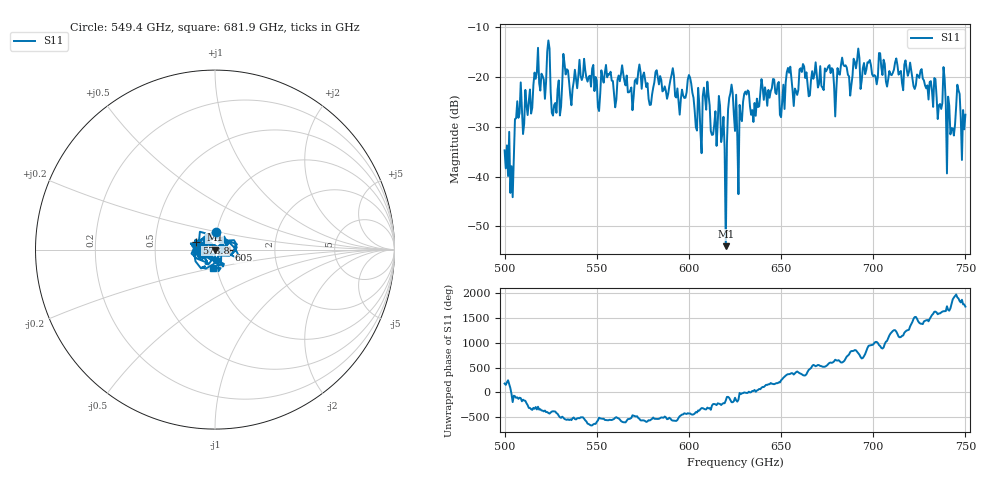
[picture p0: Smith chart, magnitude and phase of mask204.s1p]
!Created with skrf (http://scikit-rf.org).
# GHz S MA R 50.0
!freq magS11 angS11
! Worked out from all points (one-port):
!   401 points, 500 GHz to 750 GHz, reference 50 ohm
!   lowest |S11| = -53.9 dB at 620 GHz (marker M1), VSWR 1.00, Z = 49.8 - j0.0633 ohm
!   |S11| at or under -10 dB: start of sweep to end of sweep
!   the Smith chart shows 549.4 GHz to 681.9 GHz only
!   S11 on the Smith chart (normalised r, x): 549.4 GHz: 0.99, +0.20; 573.8 GHz: 0.81, +0.07; 605 GHz: 1.17, -0.01; 681.9 GHz: 0.96, -0.20
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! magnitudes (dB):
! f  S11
! 500 GHz  -34.8
! 503.1 GHz  -43.3
! 507.5 GHz  -28.2
! 513.8 GHz  -22.6
! 516.9 GHz  -20.4
! 523.8 GHz  -12.7
! 526.9 GHz  -25.7
! 531.2 GHz  -21.5
! 549.4 GHz  -20.1
! 562.5 GHz  -20.9
! 573.8 GHz  -19.1
! 593.8 GHz  -22.4
! 600.6 GHz  -20.2
! 605 GHz  -22.2
! 609.4 GHz  -26.6
! 620 GHz  -53.9
! 622.5 GHz  -23.3
! 625 GHz  -30.9
! 627.5 GHz  -25.7
! 631.2 GHz  -23.6
! 656.2 GHz  -22.8
! 681.9 GHz  -19.6
! 687.5 GHz  -23.8
! 718.8 GHz  -19.8
! 738.1 GHz  -18.1
! 741.2 GHz  -25.8
! 746.2 GHz  -22.7
! 750 GHz  -27.6
